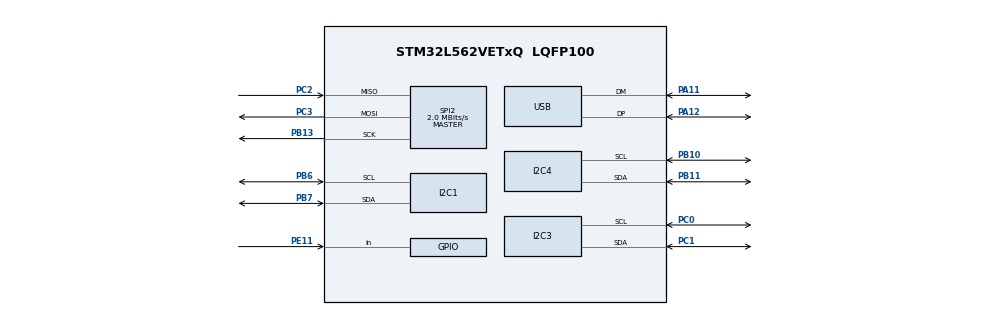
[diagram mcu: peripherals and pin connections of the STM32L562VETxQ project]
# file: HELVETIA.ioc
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Mcu.Family=STM32L5
Mcu.Name=STM32L562VETxQ
Mcu.Package=LQFP100
NVIC.PriorityGroup=NVIC_PRIORITYGROUP_3
PA11.Mode=Device
PA11.Signal=USB_DM
PA12.Mode=Device
PA12.Signal=USB_DP
PA13\ (JTMS/SWDIO).Signal=DEBUG_JTMS-SWDIO
PA14\ (JTCK/SWCLK).Signal=DEBUG_JTCK-SWCLK
PB10.Mode=I2C
PB10.Signal=I2C4_SCL
PB11.Mode=I2C
PB11.Signal=I2C4_SDA
PB13.Mode=Full_Duplex_Master
PB13.Signal=SPI2_SCK
PB3\ (JTDO/TRACESWO).Signal=DEBUG_JTDO-SWO
PB6.Mode=I2C
PB6.Signal=I2C1_SCL
PB7.Mode=I2C
PB7.Signal=I2C1_SDA
PC0.Mode=I2C
PC0.Signal=I2C3_SCL
PC1.Mode=I2C
PC1.Signal=I2C3_SDA
PC2.Mode=Full_Duplex_Master
PC2.Signal=SPI2_MISO
PC3.Mode=Full_Duplex_Master
PC3.Signal=SPI2_MOSI
PD0.Signal=SPI2_NSS
PE11.Signal=GPIO_Input
ProjectManager.HeapSize=0x200
ProjectManager.StackSize=0x400
ProjectManager.TargetToolchain=STM32CubeIDE
RCC.ADCFreq_Value=48000000
RCC.HSE_VALUE=16000000
RCC.HSI48_VALUE=48000000
RCC.HSI_VALUE=16000000
RCC.LSE_VALUE=32768
RCC.MSI_VALUE=4000000
RCC.PLLSAI1N=24
RCC.USBFreq_Value=48000000
RCC.VCOOutputFreq_Value=32000000
SPI2.CalculateBaudRate=2.0 MBits/s
SPI2.Direction=SPI_DIRECTION_2LINES
SPI2.Mode=SPI_MODE_MASTER
SPI2.VirtualType=VM_MASTER
VP_ICACHE_VS_ICACHE.Mode=DirectMappedCache
VP_PWR_VS_DBSignals.Mode=DisableDeadBatterySignals
VP_PWR_VS_SECSignals.Mode=Security/Privilege
board=custom

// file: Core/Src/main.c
/* USER CODE BEGIN Header */
/**
  ******************************************************************************
  * @file           : main.c
  * @brief          : Main program body
  ******************************************************************************
  * @attention
  *
  * <h2><center>&copy; Copyright (c) 2022 STMicroelectronics.
  * All rights reserved.</center></h2>
  *
  * This software component is licensed by ST under BSD 3-Clause license,
  * the "License"; You may not use this file except in compliance with the
  * License. You may obtain a copy of the License at:
  *                        opensource.org/licenses/BSD-3-Clause
  *
  ******************************************************************************
  */
/* USER CODE END Header */
#include "main.h"
#include "i2c.h"
#include "icache.h"
#include "spi.h"
#include "app_usb.h"
#include "gpio.h"

/* USER CODE BEGIN Includes */
#include "aris-helvetia-state-estimation/Inc/main_state_est.h" //Needs to be removed after testing
#include "aris-helvetia-state-estimation/Inc/bno055_stm32.h"
#include "Drivers/TE_Connectivity/Inc/ms5607.h"
/* USER CODE END Includes */

void SystemClock_Config(void);

/* USER CODE BEGIN 0 */

//Flags for state estimation: TODO: remove after testing
uint8_t uart_rx_flag = 0; //flag which enables receiving commands over UART
uint8_t rx_data_uart = 0; //buffer to store commands received over UART
uint8_t uart_rx_data_parse_flag = 0; //flag which enables parsing of incoming UART commands
uint8_t uart_tx_data_enable_flag = 0;
uint8_t run_flag = 0; //flag which enables state estimation
uint8_t calibration_on_startup_flag = 0; // Set true to calibrate sensor
uint8_t system_calibration = 0;
uint8_t sensor_before_calibration_flag = 1; // If sensor is not calibrated yet
uint8_t state_estimation_first_loop_flag = 1; // In first loop only z prev can be set
uint8_t state_estimation_flag = 0;
uint8_t state_estimation_calibration_flag = 0; // Flag to get a better accuracy in state estimation by bias correction
uint8_t correction_state = 0;
double correction_accel_x = 0;
double correction_accel_y = 0;
double correction_accel_z = 0;
double correction_gyro_x = 0;
double correction_gyro_y = 0;
double correction_gyro_z = 0;

double min_value = 0.05;
/* USER CODE END 0 */

int main(void)
{

  /* MCU Configuration--------------------------------------------------------*/

  /* Reset of all peripherals, Initializes the Flash interface and the Systick. */
  HAL_Init();

  /* Configure the system clock */
  SystemClock_Config();

  /* Initialize all configured peripherals */
  MX_GPIO_Init();
  MX_USB_PCD_Init();
  MX_I2C1_Init();
  MX_I2C3_Init();
  MX_I2C4_Init();
  MX_SPI2_Init();
  MX_ICACHE_Init();
  /* USER CODE BEGIN 2 */
  bno055_assignI2C(&hi2c1); //don't know which i2c connection is used
  bno055_setup();
  ms5607_assignI2C(&hi2c3); //don't know which i2c connection is used
  ms5607_setup();

  //Test whether bno055 is working correctly
  bno055_self_test_result_t self_test = bno055_getSelfTestResult();
  if (self_test.gyrState == 0 || self_test.magState == 0 || self_test.accState == 0) return 0;
  bno055_setPage(1);
  bno055_writeData(BNO055_ACC_CONFIG, 0b00001111); //set acceleration to 16g instead of 4g by default
  bno055_setPage(0);
  bno055_setOperationModeNDOF();

  // Initialisation of all state estimation variables need to be removed after testing
  ekf_state_t ekf_state;
  flight_phase_detection_t flight_phase_detection;
  flight_phase_detection.flight_phase = IDLE; // No idea why this isn't done by default
  state_est_meas_t z;
  state_est_meas_t z_prev;
  env_t env;
  state_est_data_t state_est_data;

  uint32_t t;
  uint32_t t0 = HAL_GetTick();
  /* USER CODE END 2 */

  /* Infinite loop */
  while (1)
  {
    HAL_GPIO_WritePin(GPIOE, GPIO_PIN_1, 1);
	  if(run_flag){ //state estimation is running
		  if(sensor_before_calibration_flag){
			  if(calibration_on_startup_flag && system_calibration < 3){
				  bno055_calibration_state_t cal_state = bno055_getCalibrationState();
				  uint8_t sending_buffer [5] = {56,cal_state.sys,cal_state.gyro,cal_state.mag,cal_state.accel};
				  HAL_UART_Transmit(&huart3, (uint8_t*)sending_buffer, 5, 10);
				  system_calibration = min(cal_state.mag,min(cal_state.gyro,cal_state.accel));
			  }
			  else if(calibration_on_startup_flag){
				  // TO DO: Results not checked!
				  bno055_calibration_data_t cal_data = bno055_getCalibrationData();
				  uint8_t sending_buffer[23] = {0};
				  sending_buffer[0]=59;
				  sending_buffer[1]=(uint8_t)(cal_data.offset.gyro.x >> 8);
				  sending_buffer[2]=(uint8_t)(cal_data.offset.gyro.x & 0xff);
				  sending_buffer[3]=(uint8_t)(cal_data.offset.gyro.y >> 8);
				  sending_buffer[4]=(uint8_t)(cal_data.offset.gyro.y & 0xff);
				  sending_buffer[5]=(uint8_t)(cal_data.offset.gyro.z >> 8);
				  sending_buffer[6]=(uint8_t)(cal_data.offset.gyro.z & 0xff);
				  sending_buffer[7]=(uint8_t)(cal_data.offset.mag.x >> 8);
				  sending_buffer[8]=(uint8_t)(cal_data.offset.mag.x & 0xff);
				  sending_buffer[9]=(uint8_t)(cal_data.offset.mag.y >> 8);
				  sending_buffer[10]=(uint8_t)(cal_data.offset.mag.y & 0xff);
				  sending_buffer[11]=(uint8_t)(cal_data.offset.mag.z >> 8);
				  sending_buffer[12]=(uint8_t)(cal_data.offset.mag.z & 0xff);
				  sending_buffer[13]=(uint8_t)(cal_data.offset.accel.x >> 8);
				  sending_buffer[14]=(uint8_t)(cal_data.offset.accel.x & 0xff);
				  sending_buffer[15]=(uint8_t)(cal_data.offset.accel.y >> 8);
				  sending_buffer[16]=(uint8_t)(cal_data.offset.accel.y & 0xff);
				  sending_buffer[17]=(uint8_t)(cal_data.offset.accel.z >> 8);
				  sending_buffer[18]=(uint8_t)(cal_data.offset.accel.z & 0xff);
				  sending_buffer[19]=(uint8_t)(cal_data.radius.mag >> 8);
				  sending_buffer[20]=(uint8_t)(cal_data.radius.mag & 0xff);
				  sending_buffer[21]=(uint8_t)(cal_data.radius.accel >> 8);
				  sending_buffer[22]=(uint8_t)(cal_data.radius.accel & 0xff);
				  HAL_UART_Transmit(&huart3, (uint8_t*)sending_buffer, sizeof(sending_buffer), 100);
				  uint8_t command = 77;
				  HAL_Delay(10);
				  HAL_UART_Transmit(&huart3,&command,sizeof(command),100);
				  sensor_before_calibration_flag = 0;
			  }
			  else if(system_calibration < 3){ // If command calibration_on_startup flag is not set load old config
				  bno055_calibration_data_t cal_data;
				  cal_data.offset.accel.x = CONFIG_BNO_ACCEL_OFFSET_X;
				  cal_data.offset.accel.y = CONFIG_BNO_ACCEL_OFFSET_Y;
				  cal_data.offset.accel.z = CONFIG_BNO_ACCEL_OFFSET_Z;
				  cal_data.radius.accel = CONFIG_BNO_ACCEL_OFFSET_R;
				  cal_data.offset.gyro.x = CONFIG_BNO_GYRO_OFFSET_X;
				  cal_data.offset.gyro.y = CONFIG_BNO_GYRO_OFFSET_Y;
				  cal_data.offset.gyro.z = CONFIG_BNO_GYRO_OFFSET_Z;
				  cal_data.offset.mag.x = CONFIG_BNO_MAG_OFFSET_X;
				  cal_data.offset.mag.y = CONFIG_BNO_MAG_OFFSET_Y;
				  cal_data.offset.mag.z = CONFIG_BNO_MAG_OFFSET_Z;
				  cal_data.radius.mag = CONFIG_BNO_MAG_OFFSET_R;
				  bno055_setCalibrationData(cal_data);
				  sensor_before_calibration_flag = 0; // sensor now calibrated
			  }

		  }// sensor calibration part end
		  bno055_vector_t gyro_vec = bno055_getVectorGyroscope();
		  bno055_vector_t mag_vec = bno055_getVectorMagnetometer();
		  bno055_vector_t accel_vec = bno055_getVectorLinearAccel(); // Linear Acceleration already has gravity compensation
		  bno055_vector_t euler = bno055_getVectorEuler();
		  bno055_vector_t quat = bno055_getVectorQuaternion();
      ms5607_Update()
		  if (state_estimation_flag){
			  if (fabs(gyro_vec.x - correction_gyro_x) < min_value) gyro_vec.x = 0;
			  else gyro_vec.x -= correction_gyro_x;

			  if (fabs(gyro_vec.y - correction_gyro_y) < min_value) gyro_vec.y = 0;
			  else gyro_vec.y -= correction_gyro_y;

			  if (fabs(gyro_vec.z - correction_gyro_z) < min_value) gyro_vec.z = 0;
			  else gyro_vec.z -= correction_gyro_z;

			  if (fabs(accel_vec.x - correction_accel_x) < min_value) accel_vec.x = 0;
			  else accel_vec.x -= correction_accel_x;

			  if (fabs(accel_vec.y - correction_accel_y) < min_value) accel_vec.y = 0;
			  else accel_vec.y -= correction_accel_y;

			  if (fabs(accel_vec.z - correction_accel_z) < min_value) accel_vec.z = 0;
			  else accel_vec.z -= correction_accel_z;
		  }
		  float temp_imu = convert_temperature(bno055_getTemp());
		  int32_t gyro_x = (int32_t)(gyro_vec.x*10000);
		  int32_t gyro_y = (int32_t)(gyro_vec.y*10000);
		  int32_t gyro_z = (int32_t)(gyro_vec.z*10000);
		  int32_t mag_x = (int32_t)(mag_vec.x*10000);
		  int32_t mag_y = (int32_t)(mag_vec.y*10000);
		  int32_t mag_z = (int32_t)(mag_vec.z*10000);
		  int32_t accel_x = (int32_t)(accel_vec.x*10000);
		  int32_t accel_y = (int32_t)(accel_vec.y*10000);
		  int32_t accel_z = (int32_t)(accel_vec.z*10000);
 		  //uint8_t sending_buffer[19] = {0};
		  uint8_t sending_buffer[37] = {0};
 		  sending_buffer[0] = 62;
 		  sending_buffer[1] = (uint8_t) (gyro_x >> 24);
 		  sending_buffer[2] = (uint8_t) (gyro_x >> 16);
 		  sending_buffer[3] = (uint8_t) (gyro_x >> 8);
 		  sending_buffer[4] = (uint8_t) (gyro_x & 0xff);
 		  sending_buffer[5] = (uint8_t) (gyro_y >> 24);
 		  sending_buffer[6] = (uint8_t) (gyro_y >> 16);
 		  sending_buffer[7] = (uint8_t) (gyro_y >> 8);
 		  sending_buffer[8] = (uint8_t) (gyro_y & 0xff);
 		  sending_buffer[9] = (uint8_t) (gyro_z >> 24);
 		  sending_buffer[10] = (uint8_t) (gyro_z>> 16);
 		  sending_buffer[11] = (uint8_t) (gyro_z >> 8);
 		  sending_buffer[12] = (uint8_t) (gyro_z & 0xff);
 		  sending_buffer[13] = (uint8_t) (mag_x >> 24);
 		  sending_buffer[14] = (uint8_t) (mag_x >> 16);
 		  sending_buffer[15] = (uint8_t) (mag_x >> 8);
 		  sending_buffer[16] = (uint8_t) (mag_x & 0xff);
 		  sending_buffer[17] = (uint8_t) (mag_y >> 24);
 		  sending_buffer[18] = (uint8_t) (mag_y >> 16);
 		  sending_buffer[19] = (uint8_t) (mag_y >> 8);
 		  sending_buffer[20] = (uint8_t) (mag_y & 0xff);
 		  sending_buffer[21] = (uint8_t) (mag_z >> 24);
 		  sending_buffer[22] = (uint8_t) (mag_z >> 16);
 		  sending_buffer[23] = (uint8_t) (mag_z >> 8);
 		  sending_buffer[24] = (uint8_t) (mag_z & 0xff);
 		  sending_buffer[25] = (uint8_t) (accel_x >> 24);
 		  sending_buffer[26] = (uint8_t) (accel_x >> 16);
 		  sending_buffer[27] = (uint8_t) (accel_x >> 8);
 		  sending_buffer[28] = (uint8_t) (accel_x & 0xff);
 		  sending_buffer[29] = (uint8_t) (accel_y >> 24);
 		  sending_buffer[30] = (uint8_t) (accel_y >> 16);
 		  sending_buffer[31] = (uint8_t) (accel_y >> 8);
 		  sending_buffer[32] = (uint8_t) (accel_y & 0xff);
 		  sending_buffer[33] = (uint8_t) (accel_z >> 24);
 		  sending_buffer[34] = (uint8_t) (accel_z >> 16);
 		  sending_buffer[35] = (uint8_t) (accel_z >> 8);
 		  sending_buffer[36] = (uint8_t) (accel_z & 0xff);
 		 /*
		  sending_buffer[0] = 62;
		  sending_buffer[1] = gyro_vec.x_uint8[0];
		  sending_buffer[2] = gyro_vec.x_uint8[1];
		  sending_buffer[3] = gyro_vec.y_uint8[0];
		  sending_buffer[4] = gyro_vec.y_uint8[1];
		  sending_buffer[5] = gyro_vec.z_uint8[0];
		  sending_buffer[6] = gyro_vec.z_uint8[1];
		  sending_buffer[7] = mag_vec.x_uint8[0];
		  sending_buffer[8] = mag_vec.x_uint8[1];
		  sending_buffer[9] = mag_vec.y_uint8[0];
		  sending_buffer[10] = mag_vec.y_uint8[1];
		  sending_buffer[11] = mag_vec.z_uint8[0];
		  sending_buffer[12] = mag_vec.z_uint8[1];
		  sending_buffer[13] = accel_vec.x_uint8[0];
		  sending_buffer[14] = accel_vec.x_uint8[1];
		  sending_buffer[15] = accel_vec.y_uint8[0];
		  sending_buffer[16] = accel_vec.y_uint8[1];
		  sending_buffer[17] = accel_vec.z_uint8[0];
		  sending_buffer[18] = accel_vec.z_uint8[1];
		  */

		  HAL_UART_Transmit(&huart3, (uint8_t*)sending_buffer, sizeof(sending_buffer), 100);
		  if (state_estimation_calibration_flag){
			  correction_accel_x += accel_vec.x;
			  correction_accel_y += accel_vec.y;
			  correction_accel_z += accel_vec.z;
			  correction_gyro_x += gyro_vec.x;
			  correction_gyro_y += gyro_vec.y;
			  correction_gyro_z += gyro_vec.z;
			  if (correction_state  == 100){ // create the average of the first x measurements to get a better bias correction
				  correction_accel_x /= correction_state;
				  correction_accel_y /= correction_state;
				  correction_accel_z /= correction_state;
				  correction_gyro_x /= correction_state;
				  correction_gyro_y /= correction_state;
				  correction_gyro_z /= correction_state;
				  correction_state = 0;
				  state_estimation_calibration_flag = 0;
				  state_estimation_flag = 1;
			  }
			  correction_state++;
		  }
		  if(state_estimation_flag){ //state estimation part of code
			  if(state_estimation_first_loop_flag){ //fist loop of state estimation -> only initialisation

				  reset_state(&ekf_state);
				  //t = clock();
				  //z_prev.timestamp = ((float)t-t0)/CLOCKS_PER_SEC;
				  t = HAL_GetTick();
				  z_prev.timestamp = (t - t0)*pow(10,-3);
				  // Accel
				  /*accel_vec.x -= correction_accel_x;
				  if (fabs(accel_vec.x) > min_value) z_prev.acc[0][0] = accel_vec.x;
				  else z_prev.acc[0][0] = 0;*/
				  z_prev.acc[0][0] = accel_vec.x; //- correction_accel_x;
				  /*accel_vec.y -= correction_accel_y;
				  if (fabs(accel_vec.y) > min_value) z_prev.acc[1][0] = accel_vec.y;
				  else z_prev.acc[1][0] = 0;*/
				  z_prev.acc[1][0] = accel_vec.y; //- correction_accel_y;
				  /*accel_vec.z -= correction_accel_z;
				  if (fabs(accel_vec.z) > min_value) z_prev.acc[2][0] = accel_vec.z;
				  else z_prev.acc[2][0] = 0;*/
				  z_prev.acc[2][0] = accel_vec.z; //- correction_accel_z;

				  // Gyro
				  /*gyro_vec.x -= correction_gyro_x;
				  if (fabs(gyro_vec.x) > min_value) z_prev.gyro[0][0] = gyro_vec.x;
				  else z_prev.gyro[0][0] = 0;*/
				  z_prev.gyro[0][0] = gyro_vec.x; //- correction_gyro_x;
				  /*gyro_vec.y -= correction_gyro_y;
				  if (fabs(gyro_vec.y) > min_value) z_prev.gyro[1][0] = gyro_vec.y;
				  else z_prev.gyro[1][0] = 0;*/
				  z_prev.gyro[1][0] = gyro_vec.y; //- correction_gyro_y;
				  /*gyro_vec.x -= correction_gyro_x;
				  if (fabs(gyro_vec.z) > min_value) z_prev.gyro[2][0] = gyro_vec.z;
				  else z_prev.gyro[2][0] = 0;*/
				  z_prev.gyro[2][0] = gyro_vec.z; // - correction_gyro_z;

				  // Magn
				  z_prev.mag[0][0] = mag_vec.x;
				  z_prev.mag[1][0] = mag_vec.y;
				  z_prev.mag[2][0] = mag_vec.z;

				  // add barometer here if used
          z_prev.pressure = ms5607_getPreassure();

				  // Temperature
				  z_prev.temperature_imu = temp_imu;
				  // add temperature of barometer here
          z_prev.temperature_baro = ms5607_getTemperature();
				  //set reference pressure and temperature
          set_reference_values(z_prev,env);
				  // Euler angles
				  z_prev.euler[0][0] = euler.x;
				  z_prev.euler[1][0] = euler.y;
				  z_prev.euler[2][0] = euler.z;

				  // Quaternion
				  z_prev.quat[0][0] = quat.w;
				  z_prev.quat[1][0] = quat.x;
				  z_prev.quat[2][0] = quat.y;
				  z_prev.quat[3][0] = quat.z;

				  // First initialisation of the state
				  ekf_state.X_e[0][0] = 0;
				  ekf_state.X_e[1][0] = 0;
				  ekf_state.X_e[2][0] = 0;
				  ekf_state.X_e[3][0] = 0;
				  ekf_state.X_e[4][0] = 0;
				  ekf_state.X_e[5][0] = 0;
				  ekf_state.X_e[6][0] = quat.w;
				  ekf_state.X_e[7][0] = quat.x;
				  ekf_state.X_e[8][0] = quat.y;
				  ekf_state.X_e[9][0] = quat.z;

				  state_estimation_first_loop_flag = 0;
			  }
			  else{ // not first loop of state estimation
				  //t = clock();
				  //z.timestamp = ((float)t-t0)/CLOCKS_PER_SEC;
				  t = HAL_GetTick();
				  z.timestamp = (t - t0)*pow(10,-3);
				  //HAL_GetTick();
				  // Accel
				  state_est_data.acc[0][0] = accel_vec.x; //- correction_accel_x;
				  z.acc[0][0] = accel_vec.x; //- correction_accel_x;
				  state_est_data.acc[1][0] = accel_vec.y; //- correction_accel_y;
				  z.acc[1][0] = accel_vec.y; //- correction_accel_y;
				  state_est_data.acc[2][0] = accel_vec.z; //- correction_accel_z;
				  z.acc[2][0] = accel_vec.z; //- correction_accel_z;
				  // Gyro
				  state_est_data.gyro[0][0] = gyro_vec.x; //- correction_gyro_x;
				  z.gyro[0][0] = gyro_vec.x; //- correction_gyro_x;
				  state_est_data.gyro[1][0] = gyro_vec.y; //- correction_gyro_y;
				  z.gyro[1][0] = gyro_vec.y; //- correction_gyro_y;
				  state_est_data.gyro[2][0] = gyro_vec.z; //- correction_gyro_z;
				  z.gyro[2][0] = gyro_vec.z; //- correction_gyro_z;
				  // Magn
				  state_est_data.mag[0][0] = accel_vec.x;
				  z.mag[0][0] = mag_vec.x;
				  state_est_data.mag[1][0] = mag_vec.y;
				  z.mag[1][0] = mag_vec.y;
				  state_est_data.mag[2][0] = mag_vec.z;
				  z.mag[2][0] = mag_vec.z;

				  // add barometer here if used
          z.pressure = ms5607_getPreassure();
				  // Temperature
				  z.temperature_imu = temp_imu;
				  // add temperature of barometer here
          z.temperature_baro = ms5607_getTemperature();
				  // Euler angles
				  z.euler[0][0] = euler.x;
				  z.euler[1][0] = euler.y;
				  z.euler[2][0] = euler.z;

				  // Quaternion
				  z.quat[0][0] = quat.w;
				  z.quat[1][0] = quat.x;
				  z.quat[2][0] = quat.y;
				  z.quat[3][0] = quat.z;

				  // Calculate mach number
				  state_est_data.mach_number = mach_number(&state_est_data,&z);

				  detect_flight_phase(&flight_phase_detection, &state_est_data); // Detects current state of rocket

				  ekf_estimation_cycle(&ekf_state, &z, &z_prev, &flight_phase_detection, &env);

				  // Update z_prev
				  z_prev.timestamp = z.timestamp;
				  // Accel
				  z_prev.acc[0][0] = z.acc[0][0];
				  z_prev.acc[1][0] = z.acc[1][0];
				  z_prev.acc[2][0] = z.acc[2][0];
				  // Gyro
				  z_prev.gyro[0][0] = z.gyro[0][0];
				  z_prev.gyro[1][0] = z.gyro[0][0];
				  z_prev.gyro[2][0] = z.gyro[0][0];
				  // Magn
				  z_prev.mag[0][0] = z.mag[0][0];
				  z_prev.mag[1][0] = z.mag[0][0];
				  z_prev.mag[2][0] = z.mag[0][0];

				  // add barometer here if used
          z_prev.pressure = z.pressure;
				  // Temperature
				  z_prev.temperature_imu = z.temperature_imu;
				  // add temperature of barometer here
          z_prev.temperature_baro = z.temperature_baro;

				  // Euler angles
				  z_prev.euler[0][0] = z.euler[0][0];
				  z_prev.euler[1][0] = z.euler[1][0];
				  z_prev.euler[2][0] = z.euler[2][0];

				  // Quaternion
				  z_prev.quat[0][0] = z.quat[0][0];
				  z_prev.quat[1][0] = z.quat[1][0];
				  z_prev.quat[2][0] = z.quat[2][0];
				  z_prev.quat[3][0] = z.quat[3][0];

				  // Return current position and velocity
				  int32_t pos_x = (int32_t)(ekf_state.X_e[0][0]*1000);
				  int32_t pos_y = (int32_t)(ekf_state.X_e[1][0]*1000);
				  int32_t pos_z = (int32_t)(ekf_state.X_e[2][0]*1000);
				  int32_t vel_x = (int32_t)(ekf_state.X_e[3][0]*1000);
				  int32_t vel_y = (int32_t)(ekf_state.X_e[4][0]*1000);
				  int32_t vel_z = (int32_t)(ekf_state.X_e[5][0]*1000);
				  int32_t q_w = (int32_t)(ekf_state.X_e[6][0]*1000);
				  int32_t q_x = (int32_t)(ekf_state.X_e[6][0]*1000);
				  int32_t q_y = (int32_t)(ekf_state.X_e[6][0]*1000);
				  int32_t q_z = (int32_t)(ekf_state.X_e[6][0]*1000);

				  uint8_t send_buffer [41] = {0};
				  send_buffer[0] = 65;
				  send_buffer[1] = (uint8_t) (pos_x >> 24);
				  send_buffer[2] = (uint8_t) (pos_x >> 16);
				  send_buffer[3] = (uint8_t) (pos_x >> 8);
				  send_buffer[4] = (uint8_t) (pos_x & 0xff);
				  send_buffer[5] = (uint8_t) (pos_y >> 24);
				  send_buffer[6] = (uint8_t) (pos_y >> 16);
				  send_buffer[7] = (uint8_t) (pos_y >> 8);
				  send_buffer[8] = (uint8_t) (pos_y & 0xff);
				  send_buffer[9] = (uint8_t) (pos_z >> 24);
				  send_buffer[10] = (uint8_t) (pos_z >> 16);
				  send_buffer[11] = (uint8_t) (pos_z >> 8);
				  send_buffer[12] = (uint8_t) (pos_z & 0xff);
				  send_buffer[13] = (uint8_t) (vel_x >> 24);
				  send_buffer[14] = (uint8_t) (vel_x >> 16);
				  send_buffer[15] = (uint8_t) (vel_x >> 8);
				  send_buffer[16] = (uint8_t) (vel_x & 0xff);
				  send_buffer[17] = (uint8_t) (vel_y >> 24);
				  send_buffer[18] = (uint8_t) (vel_y >> 16);
				  send_buffer[19] = (uint8_t) (vel_y >> 8);
				  send_buffer[20] = (uint8_t) (vel_y & 0xff);
				  send_buffer[21] = (uint8_t) (vel_z >> 24);
				  send_buffer[22] = (uint8_t) (vel_z >> 16);
				  send_buffer[23] = (uint8_t) (vel_z >> 8);
				  send_buffer[24] = (uint8_t) (vel_z & 0xff);
				  send_buffer[25] = (uint8_t) (q_w >> 24);
				  send_buffer[26] = (uint8_t) (q_w >> 16);
				  send_buffer[27] = (uint8_t) (q_w >> 8);
				  send_buffer[28] = (uint8_t) (q_w & 0xff);
				  send_buffer[29] = (uint8_t) (q_x >> 24);
				  send_buffer[30] = (uint8_t) (q_x >> 16);
				  send_buffer[31] = (uint8_t) (q_x >> 8);
				  send_buffer[32] = (uint8_t) (q_x & 0xff);
				  send_buffer[33] = (uint8_t) (q_y >> 24);
				  send_buffer[34] = (uint8_t) (q_y >> 16);
				  send_buffer[35] = (uint8_t) (q_y >> 8);
				  send_buffer[36] = (uint8_t) (q_y & 0xff);
				  send_buffer[37] = (uint8_t) (q_z >> 24);
				  send_buffer[38] = (uint8_t) (q_z >> 16);
				  send_buffer[39] = (uint8_t) (q_z >> 8);
				  send_buffer[40] = (uint8_t) (q_z & 0xff);

				  HAL_UART_Transmit(&huart3, (uint8_t*)send_buffer, sizeof(send_buffer), 100);
			  }
		  }

	  }
	  if(!uart_rx_flag){//receiving commands over UART
		  uart_rx_flag = 1;
		  rx_data_uart = 0;
		  HAL_UART_Receive(&huart3, &rx_data_uart, 1,10);
		  uart_rx_data_parse_flag = 1;
	  }
	  if (uart_rx_data_parse_flag){
		  if (rx_data_uart == 17){ //calibration activated
			  calibration_on_startup_flag = 1;
		  }
		  else if(rx_data_uart == 5){ //start command
			  run_flag = 1;
			  HAL_GPIO_WritePin(GPIOE, GPIO_PIN_1, 0);
			  HAL_GPIO_WritePin(GPIOB, GPIO_PIN_0, 1);
			  HAL_GPIO_WritePin(GPIOB, GPIO_PIN_14, 0);
		  }
		  else if(rx_data_uart == 21){// start state estimation command
			  if (calibration_on_startup_flag){
				  state_estimation_calibration_flag = 1;
			  }
			  else {
				  state_estimation_flag = 1;
			  }
			  state_estimation_first_loop_flag = 1;
		  }
		  else if(rx_data_uart == 13){//stop command
			  run_flag = 0;
			  state_estimation_flag = 0;
			  HAL_GPIO_WritePin(GPIOE, GPIO_PIN_1, 0);
			  HAL_GPIO_WritePin(GPIOB, GPIO_PIN_0, 0);
			  HAL_GPIO_WritePin(GPIOB, GPIO_PIN_14, 1);
		  }
		  uart_rx_data_parse_flag = 0;
		  uart_rx_flag = 0;
  }
}

void SystemClock_Config(void)
{
  RCC_OscInitTypeDef RCC_OscInitStruct = {0};
  RCC_ClkInitTypeDef RCC_ClkInitStruct = {0};

  /** Configure the main internal regulator output voltage
  */
  if (HAL_PWREx_ControlVoltageScaling(PWR_REGULATOR_VOLTAGE_SCALE2) != HAL_OK)
  {
    Error_Handler();
  }
  /** Initializes the RCC Oscillators according to the specified parameters
  * in the RCC_OscInitTypeDef structure.
  */
  RCC_OscInitStruct.OscillatorType = RCC_OSCILLATORTYPE_MSI;
  RCC_OscInitStruct.MSIState = RCC_MSI_ON;
  RCC_OscInitStruct.MSICalibrationValue = RCC_MSICALIBRATION_DEFAULT;
  RCC_OscInitStruct.MSIClockRange = RCC_MSIRANGE_6;
  RCC_OscInitStruct.PLL.PLLState = RCC_PLL_NONE;
  if (HAL_RCC_OscConfig(&RCC_OscInitStruct) != HAL_OK)
  {
    Error_Handler();
  }
  /** Initializes the CPU, AHB and APB buses clocks
  */
  RCC_ClkInitStruct.ClockType = RCC_CLOCKTYPE_HCLK|RCC_CLOCKTYPE_SYSCLK
                              |RCC_CLOCKTYPE_PCLK1|RCC_CLOCKTYPE_PCLK2;
  RCC_ClkInitStruct.SYSCLKSource = RCC_SYSCLKSOURCE_MSI;
  RCC_ClkInitStruct.AHBCLKDivider = RCC_SYSCLK_DIV1;
  RCC_ClkInitStruct.APB1CLKDivider = RCC_HCLK_DIV1;
  RCC_ClkInitStruct.APB2CLKDivider = RCC_HCLK_DIV1;

  if (HAL_RCC_ClockConfig(&RCC_ClkInitStruct, FLASH_LATENCY_0) != HAL_OK)
  {
    Error_Handler();
  }
  /** Enable MSI Auto calibration
  */
  HAL_RCCEx_EnableMSIPLLMode();
}

/* USER CODE BEGIN 4 */
void HAL_UART_RxCpltCallback(UART_HandleTypeDef *huart) {
	//uart_rx_flag = 0; //reset uart receive ongoing flag
	uart_rx_data_parse_flag = 1; //enable message parsing
}

/* USER CODE END 4 */

void Error_Handler(void)
{
  __disable_irq();
  while (1)
  {
  }
}

/************************ (C) COPYRIGHT STMicroelectronics *****END OF FILE****/
